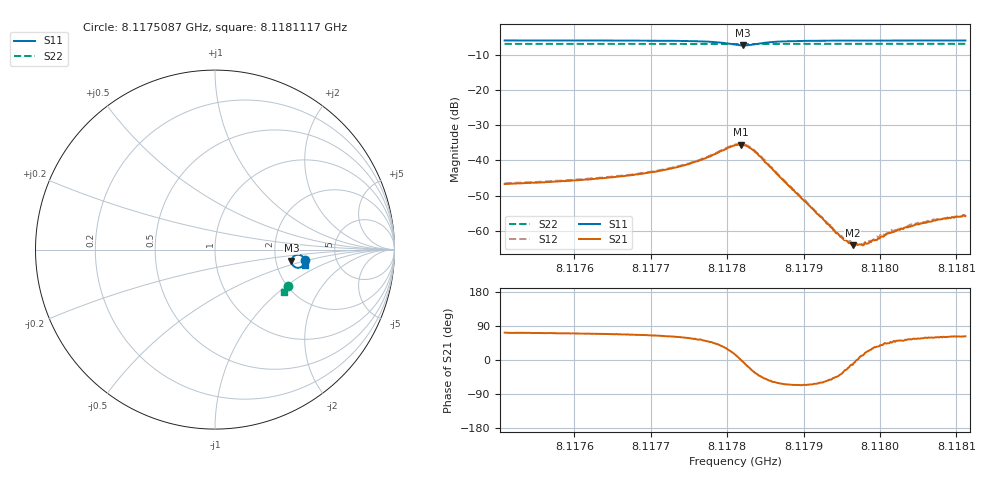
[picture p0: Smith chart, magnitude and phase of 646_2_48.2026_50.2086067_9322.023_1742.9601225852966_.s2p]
#  HZ  S  RI  R  50.00
! Rohde & Schwarz Vector Network Analyzer
! Rohde-Schwarz,ZNB20-2Port,1311601062101988,3.16
! Created: UTC 3/20/2024, 12:05:01 PM
! freq[Hz]  re:S11  im:S11  re:S21  im:S21  re:S12  im:S12  re:S22  im:S22
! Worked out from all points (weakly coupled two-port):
!   401 points, 8.1175087 GHz to 8.1181117 GHz, reference 50 ohm
!   highest |S21| = -35.47 dB at 8.1178177 GHz (marker M1); lowest = -64.1 dB at 8.1179639 GHz (marker M2)
!   lowest |S11| = -7.3 dB at 8.1178207 GHz (marker M3), VSWR 2.51, Z = 122 - j18.7 ohm
!   |S11| at or under -10 dB: nowhere
!   |S22| runs from -6.9 to -6.9 dB; largest |S21 - S12| = 0.00067
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8.11750873e9  0.5038 -0.0554  0.0014 0.0044  0.00152 0.00449  0.4051 -0.2018
8.11760972e9  0.5017 -0.066  0.00184 0.00496  0.00187 0.00504  0.4022 -0.2083
8.11766549e9  0.4994 -0.0732  0.0023 0.00556  0.00235 0.00565  0.4003 -0.212
8.11771071e9  0.4959 -0.081  0.00311 0.00639  0.00318 0.0065  0.3987 -0.215
8.11776045e9  0.4851 -0.0938  0.00563 0.0079  0.00571 0.00809  0.3967 -0.2183
8.11781019e9  0.4332 -0.0871  0.016 0.0041  0.0162 0.00423  0.3931 -0.2205
8.11781773e9  0.4262 -0.0701  0.0168 0.000209  0.0172 0.000204  0.3928 -0.22
8.11782075e9  0.426 -0.0622  0.0164 -0.00138  0.017 -0.00153  0.3929 -0.2199
8.11782979e9  0.4352 -0.0409  0.0139 -0.00563  0.0143 -0.00594  0.3931 -0.2195
8.11784185e9  0.4577 -0.029  0.00868 -0.00772  0.00902 -0.00793  0.3938 -0.2202
8.11786898e9  0.4875 -0.0384  0.00276 -0.00512  0.00282 -0.00529  0.394 -0.2226
8.11791118e9  0.4982 -0.0555  0.000903 -0.00188  0.000932 -0.00189  0.3932 -0.2259
8.11794435e9  0.5001 -0.0635  0.000674 -0.000635  0.000702 -0.000598  0.392 -0.2281
8.1179564e9  0.5001 -0.0659  0.000656 -0.000303  0.000654 -0.000331  0.3918 -0.229
8.11796394e9  0.5004 -0.0674  0.000606 -0.000142  0.000675 -0.000182  0.3915 -0.2296
8.11796846e9  0.5004 -0.0681  0.000642 -1.8e-05  0.000639 -3.85e-05  0.3914 -0.2297
8.117976e9  0.5005 -0.0692  0.000624 0.000128  0.000637 0.000104  0.391 -0.2302
8.11799559e9  0.5004 -0.0723  0.000604 0.000425  0.00068 0.000481  0.3903 -0.2315
8.11801218e9  0.5003 -0.0746  0.00067 0.000658  0.000626 0.000686  0.3898 -0.2327
8.11804684e9  0.5 -0.0787  0.000683 0.00102  0.000713 0.00107  0.3888 -0.2349
8.11808151e9  0.4997 -0.0824  0.000741 0.00127  0.000736 0.00129  0.3876 -0.237
8.11811166e9  0.4992 -0.0856  0.000747 0.00144  0.000769 0.00147  0.3864 -0.2388
